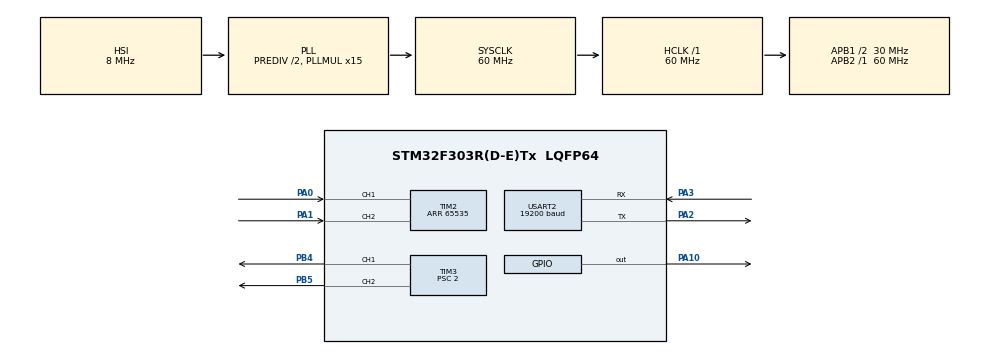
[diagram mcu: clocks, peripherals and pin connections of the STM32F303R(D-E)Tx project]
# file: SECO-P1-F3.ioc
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Mcu.Family=STM32F3
Mcu.Name=STM32F303R(D-E)Tx
Mcu.Package=LQFP64
NVIC.PriorityGroup=NVIC_PRIORITYGROUP_4
NVIC.TIM2_IRQn=true\:0\:0\:false\:false\:true\:true\:true
NVIC.TIM3_IRQn=true\:0\:0\:false\:false\:true\:true\:true
NVIC.TIM6_DAC_IRQn=true\:0\:0\:false\:false\:true\:true\:true
PA0.Signal=S_TIM2_CH1_ETR
PA1.Signal=S_TIM2_CH2
PA10.GPIO_ModeDefaultOutputPP=GPIO_MODE_OUTPUT_PP
PA10.GPIO_PuPd=GPIO_NOPULL
PA10.Signal=GPIO_Output
PA2.Mode=Asynchronous
PA2.Signal=USART2_TX
PA3.Mode=Asynchronous
PA3.Signal=USART2_RX
PB4.GPIO_PuPd=GPIO_NOPULL
PB4.Signal=S_TIM3_CH1
PB5.GPIO_PuPd=GPIO_NOPULL
PB5.Signal=S_TIM3_CH2
ProjectManager.HeapSize=0x200
ProjectManager.StackSize=0x400
ProjectManager.TargetToolchain=STM32CubeIDE
RCC.AHBFreq_Value=60000000
RCC.APB1CLKDivider=RCC_HCLK_DIV2
RCC.APB1Freq_Value=30000000
RCC.APB1TimFreq_Value=60000000
RCC.APB2Freq_Value=60000000
RCC.APB2TimFreq_Value=60000000
RCC.CortexFreq_Value=60000000
RCC.HCLKFreq_Value=60000000
RCC.HSE_VALUE=8000000
RCC.HSI_VALUE=8000000
RCC.LSE_VALUE=32768
RCC.PLLDivider=RCC_PREDIV_DIV2
RCC.PLLMUL=RCC_PLL_MUL15
RCC.SYSCLKFreq_VALUE=60000000
RCC.SYSCLKSourceVirtual=RCC_SYSCLKSOURCE_PLLCLK
RCC.USBFreq_Value=60000000
SH.S_TIM2_CH1_ETR.0=TIM2_CH1,Encoder_Interface
SH.S_TIM2_CH2.0=TIM2_CH2,Encoder_Interface
SH.S_TIM3_CH1.0=TIM3_CH1,PWM Generation1 CH1
SH.S_TIM3_CH2.0=TIM3_CH2,PWM Generation2 CH2
TIM2.EncoderMode=TIM_ENCODERMODE_TI12
TIM2.Period=65535
TIM2.TIM_MasterOutputTrigger=TIM_TRGO_RESET
TIM3.Channel-PWM\ Generation1\ CH1=TIM_CHANNEL_1
TIM3.Channel-PWM\ Generation2\ CH2=TIM_CHANNEL_2
TIM3.Period=999
TIM3.Prescaler=2
TIM6.Period=299
TIM6.Prescaler=199
USART2.BaudRate=19200
USART2.VirtualMode-Asynchronous=VM_ASYNC
VP_TIM6_VS_ClockSourceINT.Mode=Enable_Timer
board=NUCLEO-F303RE

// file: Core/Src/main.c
/* USER CODE BEGIN Header */
/**
 ******************************************************************************
 * @file           : main.c
 * @brief          : Main program body
 ******************************************************************************
 * @attention
 *
 * <h2><center>&copy; Copyright (c) 2020 STMicroelectronics.
 * All rights reserved.</center></h2>
 *
 * This software component is licensed by ST under BSD 3-Clause license,
 * the "License"; You may not use this file except in compliance with the
 * License. You may obtain a copy of the License at:
 *                        opensource.org/licenses/BSD-3-Clause
 *
 ******************************************************************************
 */
/* USER CODE END Header */

#include "main.h"
#include "tim.h"
#include "usart.h"
#include "gpio.h"

/* USER CODE BEGIN Includes */
#include <stdio.h>
#include <stdlib.h>
#include <math.h>
#include <string.h>
#include <stdbool.h>
/* USER CODE END Includes */

/* USER CODE BEGIN PV */
#define pulse_per_revolution 3536
#define max_enconder_count 65535
#define num_muestras 1200
#define num_muestras_controlador 4000
#define k_tiempo 0.001
int32_t count = 0;
double cuenta2 = 0;
double cuenta = 0;
int16_t count_pul = 0;
double medidas[num_muestras];
uint32_t i = 0;
char str_name_reducer[100];
char str_name[20001];
double pos_buffer[num_muestras_controlador+1];
double kp = 65.1094;
double kd = 1.2656;
double ki = 0.0019;
double referencia = 0;
double current_value = 0;
double diff = 0;
double last_value = 0;
double pos_i = 0.0;
double e = 0;
double e_last = 0;
double e_sum =  0;
//Flags
bool FLAG_REDUCER = false;
bool FLAG_TRANSFER = false;
bool FLAG_CONTROLLER_SENT_CONTROLER = false;
bool FLAG_DERIVATIVE_CONTROLER = false;
bool FLAG_INTEGRATOR_CONTROLER = false;
bool FLAG_PID_CONTROLER = false;
bool FLAG_COUNT_OVERFLOW = false;
bool FLAG_CONTROLLER_SENT = false;

//enum
enum Controlador{Proportional, Derivativo, Integrador,PID};
/* USER CODE END PV */

void SystemClock_Config(void);
/* USER CODE BEGIN PFP */
void move(double_t v1,double_t v2);
void obtenerdatos(double_t V);
void selec_voltage(double_t V);
void stop();
void enviarcuenta();
void controlador_proporcional(double pos_i);
void controlador_derivativo(double pos_i);
void controlador_integrador(double pos_i);
void controlador_pid(double pos_i);
void reductora();
void setref(double ref,enum Controlador controlador);
void funtion_trasfer(double_t V);
/* USER CODE END PFP */

int main(void)
{

	/* MCU Configuration--------------------------------------------------------*/

	/* Reset of all peripherals, Initializes the Flash interface and the Systick. */
	HAL_Init();

	/* Configure the system clock */
	SystemClock_Config();

	/* Initialize all configured peripherals */
	MX_GPIO_Init();
	MX_USART2_UART_Init();
	MX_TIM2_Init();
	MX_TIM3_Init();
	MX_TIM6_Init();
	/* USER CODE BEGIN 2 */
	HAL_TIM_PWM_Start(&htim3, TIM_CHANNEL_1);
	HAL_TIM_PWM_Start(&htim3, TIM_CHANNEL_2);
	HAL_TIM_Encoder_Start_IT(&htim2, TIM_CHANNEL_ALL);
	HAL_TIM_Base_Start_IT(&htim2);

	/* USER CODE END 2 */

	/* Infinite loop */
	/* USER CODE BEGIN WHILE */

	//reductora();// Uncommenting this line to calculate the reducer value

	/*//Uncommenting these lines to obtain the experimental function transfer
	selec_voltage(0);
	HAL_Delay(1000);
	//funtion_trasfer(12);
	 */

	//Uncommenting these lines to use the controller and rotate the motor to the desired position.
/*	selec_voltage(0);
	HAL_Delay(1000);
	setref(0.3*M_PI,3); // set a first  ref to linear controler
*/
	while (1)
	{
		/* USER CODE END WHILE */

	}
}

void SystemClock_Config(void)
{
	RCC_OscInitTypeDef RCC_OscInitStruct = {0};
	RCC_ClkInitTypeDef RCC_ClkInitStruct = {0};
	RCC_PeriphCLKInitTypeDef PeriphClkInit = {0};

	/** Initializes the CPU, AHB and APB busses clocks
	 */
	RCC_OscInitStruct.OscillatorType = RCC_OSCILLATORTYPE_HSI;
	RCC_OscInitStruct.HSIState = RCC_HSI_ON;
	RCC_OscInitStruct.HSICalibrationValue = RCC_HSICALIBRATION_DEFAULT;
	RCC_OscInitStruct.PLL.PLLState = RCC_PLL_ON;
	RCC_OscInitStruct.PLL.PLLSource = RCC_PLLSOURCE_HSI;
	RCC_OscInitStruct.PLL.PLLMUL = RCC_PLL_MUL15;
	RCC_OscInitStruct.PLL.PREDIV = RCC_PREDIV_DIV2;
	if (HAL_RCC_OscConfig(&RCC_OscInitStruct) != HAL_OK)
	{
		Error_Handler();
	}
	/** Initializes the CPU, AHB and APB busses clocks
	 */
	RCC_ClkInitStruct.ClockType = RCC_CLOCKTYPE_HCLK|RCC_CLOCKTYPE_SYSCLK
			|RCC_CLOCKTYPE_PCLK1|RCC_CLOCKTYPE_PCLK2;
	RCC_ClkInitStruct.SYSCLKSource = RCC_SYSCLKSOURCE_PLLCLK;
	RCC_ClkInitStruct.AHBCLKDivider = RCC_SYSCLK_DIV1;
	RCC_ClkInitStruct.APB1CLKDivider = RCC_HCLK_DIV2;
	RCC_ClkInitStruct.APB2CLKDivider = RCC_HCLK_DIV1;

	if (HAL_RCC_ClockConfig(&RCC_ClkInitStruct, FLASH_LATENCY_2) != HAL_OK)
	{
		Error_Handler();
	}
	PeriphClkInit.PeriphClockSelection = RCC_PERIPHCLK_USART2|RCC_PERIPHCLK_TIM2
			|RCC_PERIPHCLK_TIM34;
	PeriphClkInit.Usart2ClockSelection = RCC_USART2CLKSOURCE_PCLK1;
	PeriphClkInit.Tim2ClockSelection = RCC_TIM2CLK_HCLK;
	PeriphClkInit.Tim34ClockSelection = RCC_TIM34CLK_HCLK;
	if (HAL_RCCEx_PeriphCLKConfig(&PeriphClkInit) != HAL_OK)
	{
		Error_Handler();
	}
}

/* USER CODE BEGIN 4 */
/**
 * @brief  EXTI line detection callback.
 * @param  GPIO_Pin Specifies the port pin connected to corresponding EXTI line.
 * @retval None
 */
void HAL_GPIO_EXTI_Callback(uint16_t GPIO_Pin) {

}
/**
 * @brief  Period elapsed callback in non-blocking mode
 * @param  htim TIM handle
 * @retval None
 */
void HAL_TIM_PeriodElapsedCallback(TIM_HandleTypeDef *htim){

	if (htim->Instance==TIM6) {
		//Timer for controller
		if (FLAG_CONTROLLER_SENT_CONTROLER == true||FLAG_DERIVATIVE_CONTROLER == true ||FLAG_INTEGRATOR_CONTROLER == true ||FLAG_PID_CONTROLER == true) {
			i += 1;
			//save the current encoder counter value
			current_value =__HAL_TIM_GET_COUNTER(&htim2);
			//If it is counting down we have to subtract the maximum value of the counter to obtain the negative turn
			if(__HAL_TIM_IS_TIM_COUNTING_DOWN(&htim2)){

				if(FLAG_COUNT_OVERFLOW == true && current_value > last_value ){
					diff = -((max_enconder_count-current_value) + last_value);
				}
				if(current_value <= last_value || current_value <= last_value){
					diff = -(last_value - current_value);
					FLAG_COUNT_OVERFLOW = false;
				}
			}
			else {
				if (FLAG_COUNT_OVERFLOW == true && current_value < last_value) {
					diff = (max_enconder_count - last_value) + current_value;
				} else {
					diff = current_value - last_value;
					FLAG_COUNT_OVERFLOW = false;
				}
			}

			last_value = current_value;
			//the current position of the motor is the previous position plus what has been increased
			pos_i = pos_i + diff;
			//save the pos_i in a buffer to send later
			if(i<num_muestras_controlador){
				pos_buffer[i]= pos_i;
			}

			if(i == num_muestras_controlador){
				enviarcuenta();
			}

			if (FLAG_CONTROLLER_SENT_CONTROLER == true) {
				controlador_proporcional(pos_i);
			}
			if (FLAG_DERIVATIVE_CONTROLER == true) {
				controlador_derivativo(pos_i);

			}
			if (FLAG_INTEGRATOR_CONTROLER == true) {
				controlador_integrador(pos_i);
			}
			if (FLAG_PID_CONTROLER == true) {
				controlador_pid(pos_i);
			}

		}
		//timer for reducer
		if (FLAG_REDUCER == true) {
			i += 1;
		//wait 4 seconds to turn the engine over and send the account value
			if(i == 4000){
				cuenta = __HAL_TIM_GET_COUNTER(&htim2);
				cuenta2 = TIM2->CNT;
				HAL_TIM_Base_Stop_IT(&htim6);
				enviarcuenta();
				FLAG_REDUCER = false;
			}
		}
		//timer for function transfer
		if (FLAG_TRANSFER == true) {
			medidas[i] = __HAL_TIM_GET_COUNTER(&htim2);
			i += 1;
			if(i == 600){
				selec_voltage(0);
			}
			else if(i == 1200){
				selec_voltage(0);
				HAL_TIM_Base_Stop_IT(&htim6);
				enviarcuenta();
				FLAG_TRANSFER = false;
			}
		}

	}
	else if(htim->Instance==TIM2){

		FLAG_COUNT_OVERFLOW = true;

	}
	else {
	}
}

/**
 * @brief  Start PWM pins with specific duties cycles
 * @param  v1: Duty cycle of first PWM .
 * @param  v2:  Duty cycle of second PWM.
 * @retval None
 */
void move(double_t v1,double_t v2){
	HAL_GPIO_WritePin(GPIOA, GPIO_PIN_10, GPIO_PIN_SET);
	v1 = round(v1);
	v2 = round(v2);
//Protection of H bridge
	if(v1>999){
		v1 = 999;
	}
	else if(v1<0){
		v1 = 0;
	}

	if(v2<0){
		v2 = 0;
	}
	else if(v2>999){
		v2 = 999;
	}

	if(v1 != 0 && v2 !=0){
		v1 = 0;
		v2 = 0;
	}
	//Set PWM pin value
	__HAL_TIM_SET_COMPARE(&htim3, TIM_CHANNEL_1,v1);
	__HAL_TIM_SET_COMPARE(&htim3, TIM_CHANNEL_2,v2);
}
/**
 * @brief  Set both PWM to 0 and lock the enable A
 * @retval None
 */
void stop(){
	__HAL_TIM_SET_COMPARE(&htim3, TIM_CHANNEL_1, 0);
	__HAL_TIM_SET_COMPARE(&htim3, TIM_CHANNEL_2, 0);
	HAL_GPIO_WritePin(GPIOA, GPIO_PIN_10, GPIO_PIN_RESET);
}

/**
 * @brief  Estimate the duty cycle of the PWM, according to the mean voltage selected and call move function with this values.
 * @param  V: the average voltage of the PWM.
 * @retval None
 */
void selec_voltage (double_t V){
	double tension_pwm;
	tension_pwm = (V/12)*999;
	if (V>0) {
		move(tension_pwm,0);
	}else {
		tension_pwm = abs(tension_pwm);
		move(0,tension_pwm);
	}

}
/**
 * @brief  Send measures via ST link USB for UART
 * @retval None
 */
void enviarcuenta(){
	if (FLAG_TRANSFER == true) {
		for(int i = 0; i<num_muestras; i++){
			sprintf(str_name, "%s%d\t%f\n",str_name , i,medidas[i]);
		}
		sprintf(str_name, "%s#",str_name);
		HAL_UART_Transmit(&huart2,(uint8_t*) str_name, strlen(str_name), HAL_MAX_DELAY);
	}
	if (FLAG_REDUCER == true) {
		sprintf(str_name_reducer, "Cuenta = %f\t %f", cuenta,cuenta2);
		HAL_UART_Transmit(&huart2,(uint8_t*) str_name_reducer, strlen(str_name_reducer), HAL_MAX_DELAY);
	}
	if (FLAG_CONTROLLER_SENT == true) {
		for(int i = 0; i<(int)(num_muestras_controlador/2); i++){
			sprintf(str_name, "%s%d\t%f\n",str_name , i,pos_buffer[i]);
		}
		HAL_UART_Transmit(&huart2,(uint8_t*) str_name, strlen(str_name), HAL_MAX_DELAY);
		strcpy(str_name,"");
		for(int i = (num_muestras_controlador/2); i<(int)(num_muestras_controlador); i++){
			sprintf(str_name, "%s%d\t%f\n",str_name , i,pos_buffer[i]);
		}
		sprintf(str_name, "%s#",str_name);
		HAL_UART_Transmit(&huart2,(uint8_t*) str_name, strlen(str_name), HAL_MAX_DELAY);
	}

}
/**
 * @brief  Test start with certain voltage and sampling counter
 * @param  V: the average voltage of the PWM.
 * @retval None
 */
void obtenerdatos(double_t V){
	__HAL_TIM_SET_COUNTER(&htim2, 0);
	HAL_TIM_Base_Start_IT(&htim6);
	count_pul = 0;
	selec_voltage(V);
}
/**
 * @brief Reducer measurement experimentally
 * @retval None
 */
void reductora(){
	FLAG_REDUCER = true;
	__HAL_TIM_SET_COUNTER(&htim2, 0);
	HAL_TIM_Base_Start_IT(&htim6);
}

/**
 * @brief Set reference for controller
 * @param ref: reference
 * @retval None
 */
void setref(double ref, enum Controlador controlador){
	referencia = ref;
	__HAL_TIM_SET_COUNTER(&htim2, 0);
	if (controlador == Proportional) {
		FLAG_CONTROLLER_SENT_CONTROLER = true;
		FLAG_CONTROLLER_SENT = true;
	}
	if (controlador == Derivativo) {
		FLAG_DERIVATIVE_CONTROLER = true;
		FLAG_CONTROLLER_SENT = true;
	}
	if (controlador == Integrador) {
		FLAG_INTEGRATOR_CONTROLER = true;
		FLAG_CONTROLLER_SENT = true;
	}
	if (controlador == PID) {
		FLAG_PID_CONTROLER = true;
		FLAG_CONTROLLER_SENT = true;
	}

	HAL_TIM_Base_Start_IT(&htim6);
}

/**
 * @brief	Proportional Controller
 * @retval None
 */
void controlador_proporcional(double pos_i){

	e = referencia - (pos_i * 2 * M_PI / pulse_per_revolution);
	selec_voltage((double)kp * e);

}
/**
 * @brief	Derivative Controller
 * @retval None
 */
void controlador_derivativo(double pos_i){

	e_last = e;
	e = referencia - (pos_i * 2 * M_PI / pulse_per_revolution);
	selec_voltage((double)(kp * e +kd * (e-e_last)/k_tiempo));
}
/**
 * @brief	Integrator Controller
 * @retval None
 */
void controlador_integrador(double pos_i){
	e = referencia - (pos_i * 2 * M_PI / pulse_per_revolution);
	e_sum = e_sum + e;
	selec_voltage((double)(kp * e +ki * e_sum * k_tiempo));

}
/**
 * @brief	PID Controller
 * @retval None
 */
void controlador_pid(double pos_i){
	e_last = e;
	e = referencia - (pos_i * 2 * M_PI / pulse_per_revolution);
	e_sum = e_sum + e;
	selec_voltage((double)(kp * e +kd *(e-e_last)/k_tiempo +ki * e_sum * k_tiempo));

}
/**
 * @brief	Funtion Transfer
 * @retval None
 */
void funtion_trasfer(double_t V){
	FLAG_TRANSFER = true;
	__HAL_TIM_SET_COUNTER(&htim2, 0);
	HAL_TIM_Base_Start_IT(&htim6);
	selec_voltage(V);

}
/* USER CODE END 4 */

void Error_Handler(void)
{
}

/************************ (C) COPYRIGHT STMicroelectronics *****END OF FILE****/
